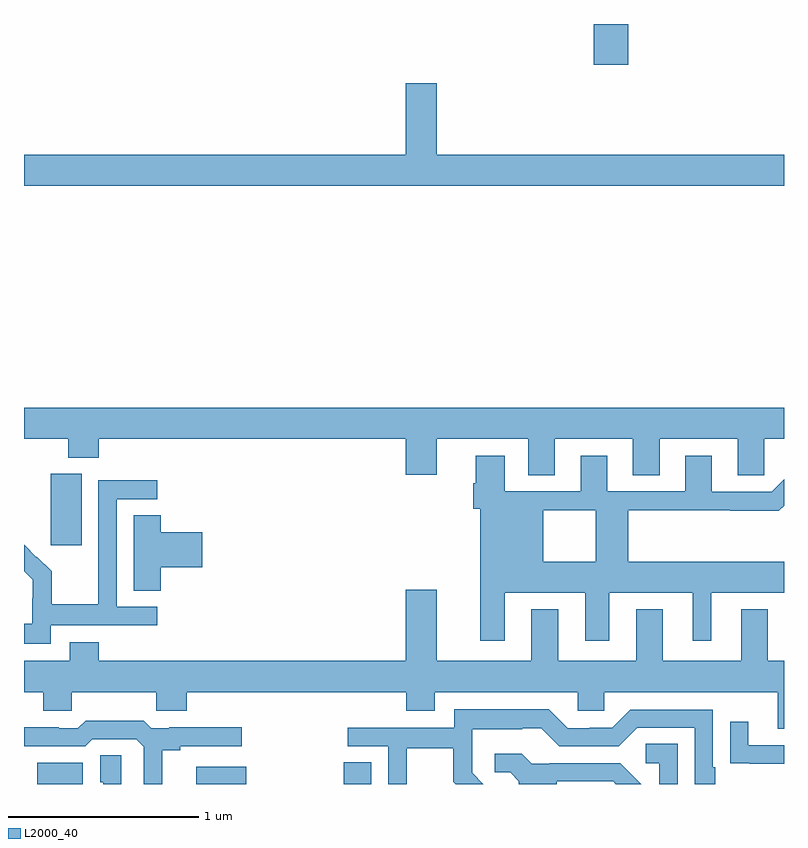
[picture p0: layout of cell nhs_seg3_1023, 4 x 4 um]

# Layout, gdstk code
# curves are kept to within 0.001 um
import gdstk
lib = gdstk.Library(unit=1e-6, precision=1e-09)
def R(c, l, rs):  # rectangles x0, y0, x1, y1
    for r in rs: c.add(gdstk.rectangle(r[:2], r[2:], *l))
def P(c, l, *ps):  # polygons
    for p in ps: c.add(gdstk.Polygon(p, *l))
L2000_40 = (2000, 40)

nhs_seg3_1023 = lib.new_cell('nhs_seg3_1023')
R(nhs_seg3_1023, L2000_40, [(163.07,732.4,163.309,732.511), (163.907,732.4,164.17,732.49), (164.684,732.4,164.827,732.515), (163.142,733.656,163.303,734.032), (165.998,736.185,166.181,736.4)])
P(nhs_seg3_1023, L2000_40, [(167,735.712),(165.172,735.712),(165.172,736.087),(165.008,736.087),(165.008,735.712),(163,735.712),(163,735.548),(167,735.548)],
  [(163,734.216),(163.234,734.216),(163.234,734.117),(163.394,734.117),(163.394,734.216),(165.008,734.216),(165.008,734.028),(165.172,734.028),(165.172,734.216),(165.653,734.216),(165.653,734.026),(165.793,734.026),(165.793,734.216),(166.205,734.216),(166.205,734.026),(166.345,734.026),(166.345,734.216),(166.757,734.216),(166.757,734.026),(166.896,734.026),(166.896,734.216),(167,734.216),(167,734.38),(163,734.38)],
  [(165.529,733.155),(165.529,733.406),(165.953,733.406),(165.953,733.155),(166.081,733.155),(166.081,733.406),(166.52,733.406),(166.52,733.155),(166.618,733.155),(166.618,733.406),(167,733.406),(167,733.57),(166.181,733.57),(166.181,733.84),(166.717,733.84),(166.717,733.838),(166.973,733.838),(167,733.865),(167,734.003),(166.935,733.938),(166.621,733.938),(166.621,734.128),(166.481,734.128),(166.481,733.941),(166.069,733.941),(166.069,734.128),(165.929,734.128),(165.929,733.941),(165.529,733.941),(165.529,734.128),(165.377,734.128),(165.377,733.982),(165.365,733.982),(165.365,733.848),(165.401,733.848),(165.401,733.57),(165.733,733.57),(165.733,733.84),(166.01,733.84),(166.01,733.57),(165.401,733.57),(165.401,733.155)],
  [(163.14,733.236),(163.702,733.236),(163.702,733.332),(163.488,733.332),(163.488,733.899),(163.702,733.899),(163.702,733.998),(163.392,733.998),(163.392,733.568),(163.39,733.568),(163.39,733.345),(163.145,733.345),(163.145,733.519),(163.068,733.596),(163.065,733.593),(163,733.659),(163,733.52),(163.046,733.474),(163.046,733.377),(163.044,733.377),(163.044,733.243),(163,733.243),(163,733.139),(163.14,733.139)],
  [(163.721,733.541),(163.939,733.541),(163.939,733.724),(163.721,733.724),(163.721,733.814),(163.577,733.814),(163.577,733.417),(163.721,733.417)],
  [(167,733.048),(166.915,733.048),(166.915,733.321),(166.775,733.321),(166.775,733.048),(166.363,733.048),(166.363,733.321),(166.223,733.321),(166.223,733.048),(165.811,733.048),(165.811,733.321),(165.671,733.321),(165.671,733.048),(165.172,733.048),(165.172,733.423),(165.008,733.423),(165.008,733.048),(163.394,733.048),(163.394,733.147),(163.241,733.147),(163.241,733.048),(163,733.048),(163,732.884),(163.1,732.884),(163.1,732.786),(163.251,732.786),(163.251,732.884),(163.696,732.884),(163.696,732.786),(163.856,732.786),(163.856,732.884),(165.011,732.884),(165.011,732.785),(165.163,732.785),(165.163,732.884),(165.915,732.884),(165.915,732.786),(166.053,732.786),(166.053,732.884),(166.967,732.884),(166.967,732.69),(167,732.69)],
  [(165.015,732.588),(165.259,732.588),(165.259,732.413),(165.272,732.4),(165.416,732.4),(165.358,732.458),(165.358,732.555),(165.36,732.555),(165.36,732.689),(165.623,732.689),(165.623,732.693),(165.723,732.693),(165.816,732.6),(166.131,732.6),(166.227,732.696),(166.53,732.696),(166.53,732.4),(166.639,732.4),(166.639,732.487),(166.626,732.487),(166.626,732.792),(166.191,732.792),(166.095,732.696),(165.977,732.696),(165.977,732.693),(165.861,732.693),(165.761,732.793),(165.264,732.793),(165.264,732.696),(164.703,732.696),(164.703,732.6),(164.916,732.6),(164.916,732.4),(165.015,732.4)],
  [(163.727,732.578),(163.822,732.578),(163.822,732.6),(164.146,732.6),(164.146,732.698),(163.765,732.698),(163.765,732.693),(163.671,732.693),(163.631,732.733),(163.324,732.733),(163.284,732.693),(163.184,732.693),(163.184,732.698),(163,732.698),(163,732.6),(163.323,732.6),(163.359,732.636),(163.59,732.636),(163.629,732.597),(163.629,732.4),(163.727,732.4)],
  [(167,732.603),(166.813,732.603),(166.813,732.727),(166.717,732.727),(166.717,732.508),(166.819,732.508),(166.819,732.507),(167,732.507)],
  [(166.44,732.611),(166.272,732.611),(166.272,732.51),(166.344,732.51),(166.344,732.4),(166.44,732.4)],
  [(165.805,732.414),(166.1,732.414),(166.114,732.4),(166.248,732.4),(166.138,732.51),(165.766,732.51),(165.766,732.507),(165.672,732.507),(165.62,732.559),(165.477,732.559),(165.477,732.462),(165.558,732.462),(165.605,732.415),(165.605,732.4),(165.805,732.4)],
  [(163.512,732.551),(163.4,732.551),(163.4,732.408),(163.416,732.408),(163.416,732.4),(163.512,732.4)])

lib.write_gds('nhs_seg3_1023.gds')
